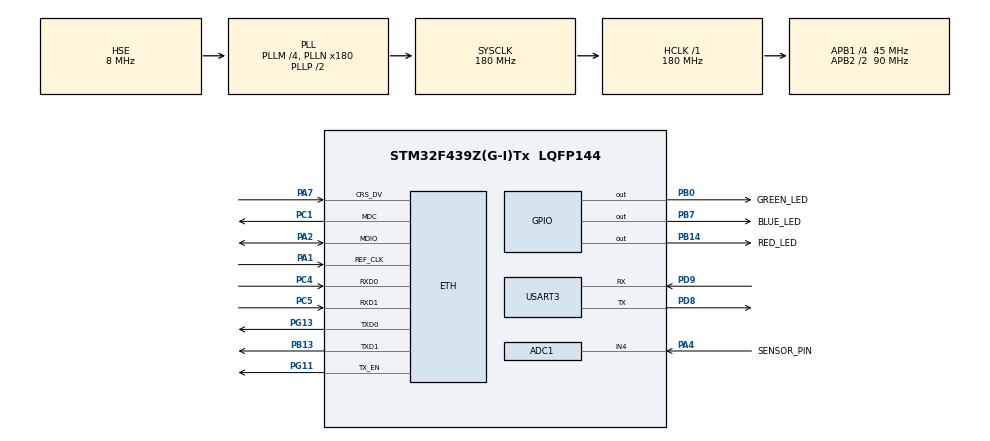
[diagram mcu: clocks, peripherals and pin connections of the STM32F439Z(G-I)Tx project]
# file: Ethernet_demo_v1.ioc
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ADC1.Channel-0\#ChannelRegularConversion=ADC_CHANNEL_4
ADC1.NbrOfConversionFlag=1
ADC1.Rank-0\#ChannelRegularConversion=1
ADC1.SamplingTime-0\#ChannelRegularConversion=ADC_SAMPLETIME_3CYCLES
ADC1.master=1
ETH.MediaInterface=HAL_ETH_RMII_MODE
ETH.PHY_ISFR_INT4=0x0010
ETH.PHY_SR=0x1f
ETH.RxMode=ETH_RXPOLLING_MODE
LWIP.BSP.number=1
LWIP.CHECKSUM_GEN_ICMP=0
LWIP.GATEWAY_ADDRESS=192.168.000.001
LWIP.IP_ADDRESS=192.168.000.139
LWIP.LWIP_DHCP=0
LWIP.LWIP_HTTPD=1
LWIP.LWIP_HTTPD_CGI=1
LWIP.LWIP_HTTPD_SSI=1
LWIP.LWIP_RAM_HEAP_POINTER=0x20012000
LWIP.MEM_SIZE=10240
LWIP.NETMASK_ADDRESS=255.255.255.000
LWIP.Version=v2.1.2_Cube
LWIP0.BSP.STBoard=false
LWIP0.BSP.api=BSP_COMPONENT_DRIVER
LWIP0.BSP.component=LAN8742
LWIP0.BSP.i2caddr=0
LWIP0.BSP.instance=LAN8742
LWIP0.BSP.name=Driver_PHY
LWIP0.BSP.semaphore=S_LAN8742
LWIP0.BSP.solution=LAN8742
Mcu.Family=STM32F4
Mcu.Name=STM32F439Z(G-I)Tx
Mcu.Package=LQFP144
NVIC.PriorityGroup=NVIC_PRIORITYGROUP_4
NVIC.TIM6_DAC_IRQn=true\:15\:0\:false\:false\:true\:false\:true\:true
NVIC.TimeBase=TIM6_DAC_IRQn
NVIC.TimeBaseIP=TIM6
PA1.Mode=RMII
PA1.Signal=ETH_REF_CLK
PA13.Mode=Trace_Asynchronous_SW
PA13.Signal=SYS_JTMS-SWDIO
PA14.Mode=Trace_Asynchronous_SW
PA14.Signal=SYS_JTCK-SWCLK
PA2.Mode=RMII
PA2.Signal=ETH_MDIO
PA4.GPIO_Label=SENSOR_PIN
PA4.Signal=ADCx_IN4
PA7.Mode=RMII
PA7.Signal=ETH_CRS_DV
PB0.GPIO_Label=GREEN_LED
PB0.Signal=GPIO_Output
PB13.Mode=RMII
PB13.Signal=ETH_TXD1
PB14.GPIO_Label=RED_LED
PB14.Signal=GPIO_Output
PB3.Mode=Trace_Asynchronous_SW
PB3.Signal=SYS_JTDO-SWO
PB7.GPIO_Label=BLUE_LED
PB7.Signal=GPIO_Output
PC1.Mode=RMII
PC1.Signal=ETH_MDC
PC4.Mode=RMII
PC4.Signal=ETH_RXD0
PC5.Mode=RMII
PC5.Signal=ETH_RXD1
PD8.Mode=Asynchronous
PD8.Signal=USART3_TX
PD9.Mode=Asynchronous
PD9.Signal=USART3_RX
PG11.Mode=RMII
PG11.Signal=ETH_TX_EN
PG13.Mode=RMII
PG13.Signal=ETH_TXD0
PH0/OSC_IN.Mode=HSE-External-Clock-Source
PH0/OSC_IN.Signal=RCC_OSC_IN
PH1/OSC_OUT.Mode=HSE-External-Clock-Source
PH1/OSC_OUT.Signal=RCC_OSC_OUT
ProjectManager.HeapSize=0x400
ProjectManager.StackSize=0x800
ProjectManager.TargetToolchain=STM32CubeIDE
RCC.48MHZClocksFreq_Value=90000000
RCC.AHBFreq_Value=180000000
RCC.APB1CLKDivider=RCC_HCLK_DIV4
RCC.APB1Freq_Value=45000000
RCC.APB1TimFreq_Value=90000000
RCC.APB2CLKDivider=RCC_HCLK_DIV2
RCC.APB2Freq_Value=90000000
RCC.APB2TimFreq_Value=180000000
RCC.CortexFreq_Value=180000000
RCC.HCLKFreq_Value=180000000
RCC.HSE_VALUE=8000000
RCC.HSI_VALUE=16000000
RCC.LSE_VALUE=32768
RCC.PLLM=4
RCC.PLLN=180
RCC.PLLSourceVirtual=RCC_PLLSOURCE_HSE
RCC.PWR_Regulator_Voltage_Scale=PWR_REGULATOR_VOLTAGE_SCALE1
RCC.SYSCLKFreq_VALUE=180000000
RCC.SYSCLKSource=RCC_SYSCLKSOURCE_PLLCLK
RCC.VCOOutputFreq_Value=360000000
SH.ADCx_IN4.0=ADC1_IN4,IN4
USART3.VirtualMode=VM_ASYNC
VP_LWIP_VS_Enabled.Mode=Enabled
VP_SYS_VS_tim6.Mode=TIM6
board=custom

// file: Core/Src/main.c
/* USER CODE BEGIN Header */
/**
  ******************************************************************************
  * @file           : main.c
  * @brief          : Main program body
  ******************************************************************************
  * @attention
  *
  * Copyright (c) 2022 STMicroelectronics.
  * All rights reserved.
  *
  * This software is licensed under terms that can be found in the LICENSE file
  * in the root directory of this software component.
  * If no LICENSE file comes with this software, it is provided AS-IS.
  *
  ******************************************************************************
  */
/* USER CODE END Header */
#include "main.h"
#include "lwip.h"

/* USER CODE BEGIN Includes */
#include "lwip/apps/httpd.h"

/* USER CODE END Includes */

/* USER CODE BEGIN PD */
#define NUM_TAGS 1
/* USER CODE END PD */

 ADC_HandleTypeDef hadc1;

UART_HandleTypeDef huart3;

void SystemClock_Config(void);
static void MX_GPIO_Init(void);
static void MX_ADC1_Init(void);
static void MX_USART3_UART_Init(void);

/* USER CODE BEGIN 0 */
extern struct netif gnetif;
extern char const** tags;
extern tCGI CGI_ARR[1];
extern const tCGI LED_CGI;
uint32_t g_sensor_value = 0;

/* re-target printf to UART3 */
int __io_putchar(int ch)
{
	  HAL_UART_Transmit(&huart3, (uint8_t*)&ch, 1, 10);
	  return ch;
}

//  int _write(int file, char *ptr, int len)
//  {
//	  int i = 0;
//	  for (i = 0; i<len; i++)
//	  {
//		  ITM_SendChar(*(ptr++));
//	  }
//
//	  return len;
//  }

/* USER CODE END 0 */

int main(void)
{

  /* MCU Configuration--------------------------------------------------------*/

  /* Reset of all peripherals, Initializes the Flash interface and the Systick. */
  HAL_Init();

  /* Configure the system clock */
  SystemClock_Config();

  /* Initialize all configured peripherals */
  MX_GPIO_Init();
  MX_LWIP_Init();
  MX_ADC1_Init();
  MX_USART3_UART_Init();
  /* USER CODE BEGIN 2 */

  HAL_GPIO_WritePin(GPIOB, GREEN_LED_Pin | RED_LED_Pin| BLUE_LED_Pin, GPIO_PIN_RESET);
  httpd_init();

  /* set ssi handler */
  http_set_ssi_handler(ssi_handler, tags, NUM_TAGS);

  /* set cgi handler */
  CGI_ARR[0] = LED_CGI;
  http_set_cgi_handlers(CGI_ARR,1);

  /* USER CODE END 2 */

  /* Infinite loop */
  while (1)
  {

    /* USER CODE BEGIN 3 */
	  HAL_ADC_Start(&hadc1);
	  g_sensor_value = HAL_ADC_GetValue(&hadc1);
	  MX_LWIP_Process();

  }
  /* USER CODE END 3 */
}

void SystemClock_Config(void)
{
  RCC_OscInitTypeDef RCC_OscInitStruct = {0};
  RCC_ClkInitTypeDef RCC_ClkInitStruct = {0};

  /** Configure the main internal regulator output voltage
  */
  __HAL_RCC_PWR_CLK_ENABLE();
  __HAL_PWR_VOLTAGESCALING_CONFIG(PWR_REGULATOR_VOLTAGE_SCALE1);

  /** Initializes the RCC Oscillators according to the specified parameters
  * in the RCC_OscInitTypeDef structure.
  */
  RCC_OscInitStruct.OscillatorType = RCC_OSCILLATORTYPE_HSE;
  RCC_OscInitStruct.HSEState = RCC_HSE_BYPASS;
  RCC_OscInitStruct.PLL.PLLState = RCC_PLL_ON;
  RCC_OscInitStruct.PLL.PLLSource = RCC_PLLSOURCE_HSE;
  RCC_OscInitStruct.PLL.PLLM = 4;
  RCC_OscInitStruct.PLL.PLLN = 180;
  RCC_OscInitStruct.PLL.PLLP = RCC_PLLP_DIV2;
  RCC_OscInitStruct.PLL.PLLQ = 4;
  if (HAL_RCC_OscConfig(&RCC_OscInitStruct) != HAL_OK)
  {
    Error_Handler();
  }

  /** Activate the Over-Drive mode
  */
  if (HAL_PWREx_EnableOverDrive() != HAL_OK)
  {
    Error_Handler();
  }

  /** Initializes the CPU, AHB and APB buses clocks
  */
  RCC_ClkInitStruct.ClockType = RCC_CLOCKTYPE_HCLK|RCC_CLOCKTYPE_SYSCLK
                              |RCC_CLOCKTYPE_PCLK1|RCC_CLOCKTYPE_PCLK2;
  RCC_ClkInitStruct.SYSCLKSource = RCC_SYSCLKSOURCE_PLLCLK;
  RCC_ClkInitStruct.AHBCLKDivider = RCC_SYSCLK_DIV1;
  RCC_ClkInitStruct.APB1CLKDivider = RCC_HCLK_DIV4;
  RCC_ClkInitStruct.APB2CLKDivider = RCC_HCLK_DIV2;

  if (HAL_RCC_ClockConfig(&RCC_ClkInitStruct, FLASH_LATENCY_5) != HAL_OK)
  {
    Error_Handler();
  }
}

static void MX_ADC1_Init(void)
{

  ADC_ChannelConfTypeDef sConfig = {0};

  /** Configure the global features of the ADC (Clock, Resolution, Data Alignment and number of conversion)
  */
  hadc1.Instance = ADC1;
  hadc1.Init.ClockPrescaler = ADC_CLOCK_SYNC_PCLK_DIV4;
  hadc1.Init.Resolution = ADC_RESOLUTION_12B;
  hadc1.Init.ScanConvMode = DISABLE;
  hadc1.Init.ContinuousConvMode = DISABLE;
  hadc1.Init.DiscontinuousConvMode = DISABLE;
  hadc1.Init.ExternalTrigConvEdge = ADC_EXTERNALTRIGCONVEDGE_NONE;
  hadc1.Init.ExternalTrigConv = ADC_SOFTWARE_START;
  hadc1.Init.DataAlign = ADC_DATAALIGN_RIGHT;
  hadc1.Init.NbrOfConversion = 1;
  hadc1.Init.DMAContinuousRequests = DISABLE;
  hadc1.Init.EOCSelection = ADC_EOC_SINGLE_CONV;
  if (HAL_ADC_Init(&hadc1) != HAL_OK)
  {
    Error_Handler();
  }

  /** Configure for the selected ADC regular channel its corresponding rank in the sequencer and its sample time.
  */
  sConfig.Channel = ADC_CHANNEL_4;
  sConfig.Rank = 1;
  sConfig.SamplingTime = ADC_SAMPLETIME_3CYCLES;
  if (HAL_ADC_ConfigChannel(&hadc1, &sConfig) != HAL_OK)
  {
    Error_Handler();
  }

}

static void MX_USART3_UART_Init(void)
{

  huart3.Instance = USART3;
  huart3.Init.BaudRate = 115200;
  huart3.Init.WordLength = UART_WORDLENGTH_8B;
  huart3.Init.StopBits = UART_STOPBITS_1;
  huart3.Init.Parity = UART_PARITY_NONE;
  huart3.Init.Mode = UART_MODE_TX_RX;
  huart3.Init.HwFlowCtl = UART_HWCONTROL_NONE;
  huart3.Init.OverSampling = UART_OVERSAMPLING_16;
  if (HAL_UART_Init(&huart3) != HAL_OK)
  {
    Error_Handler();
  }

}

static void MX_GPIO_Init(void)
{
  GPIO_InitTypeDef GPIO_InitStruct = {0};

  /* GPIO Ports Clock Enable */
  __HAL_RCC_GPIOH_CLK_ENABLE();
  __HAL_RCC_GPIOC_CLK_ENABLE();
  __HAL_RCC_GPIOA_CLK_ENABLE();
  __HAL_RCC_GPIOB_CLK_ENABLE();
  __HAL_RCC_GPIOD_CLK_ENABLE();
  __HAL_RCC_GPIOG_CLK_ENABLE();

  /*Configure GPIO pin Output Level */
  HAL_GPIO_WritePin(GPIOB, GREEN_LED_Pin|RED_LED_Pin|BLUE_LED_Pin, GPIO_PIN_RESET);

  /*Configure GPIO pins : GREEN_LED_Pin RED_LED_Pin BLUE_LED_Pin */
  GPIO_InitStruct.Pin = GREEN_LED_Pin|RED_LED_Pin|BLUE_LED_Pin;
  GPIO_InitStruct.Mode = GPIO_MODE_OUTPUT_PP;
  GPIO_InitStruct.Pull = GPIO_NOPULL;
  GPIO_InitStruct.Speed = GPIO_SPEED_FREQ_LOW;
  HAL_GPIO_Init(GPIOB, &GPIO_InitStruct);

}

void HAL_TIM_PeriodElapsedCallback(TIM_HandleTypeDef *htim)
{
  if (htim->Instance == TIM6) {
    HAL_IncTick();
  }
}

void Error_Handler(void)
{
  __disable_irq();
  while (1)
  {
  }
}
